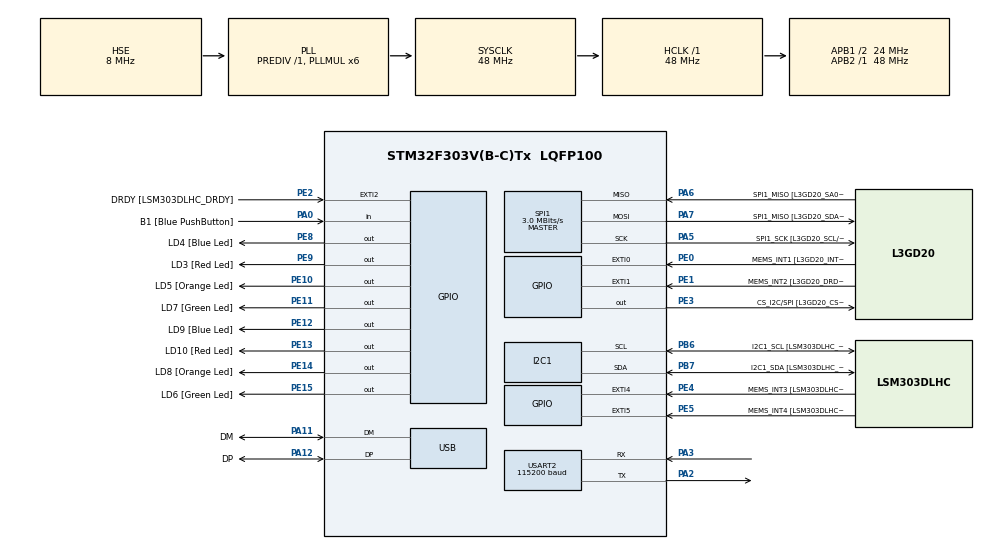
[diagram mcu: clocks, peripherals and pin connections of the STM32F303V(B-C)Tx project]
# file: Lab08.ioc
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I2C1.Timing=0x2000090E
I2C1.Timing-I2C=0x2000090E
Mcu.Family=STM32F3
Mcu.Name=STM32F303V(B-C)Tx
Mcu.Package=LQFP100
NVIC.PriorityGroup=NVIC_PRIORITYGROUP_0
NVIC.SPI1_IRQn=true\:0\:0\:false\:false\:true\:true\:true\:true
PA0.GPIO_Label=B1 [Blue PushButton]
PA0.Signal=GPIO_Input
PA11.GPIO_Label=DM
PA11.Mode=Device
PA11.Signal=USB_DM
PA12.GPIO_Label=DP
PA12.Mode=Device
PA12.Signal=USB_DP
PA13.GPIO_Label=SWDIO
PA13.Mode=Serial_Wire
PA13.Signal=SYS_JTMS-SWDIO
PA14.GPIO_Label=SWCLK
PA14.Mode=Serial_Wire
PA14.Signal=SYS_JTCK-SWCLK
PA2.Mode=Asynchronous
PA2.Signal=USART2_TX
PA3.Mode=Asynchronous
PA3.Signal=USART2_RX
PA5.GPIO_Label=SPI1_SCK [L3GD20_SCL/SPC]
PA5.Mode=Full_Duplex_Master
PA5.Signal=SPI1_SCK
PA6.GPIO_Label=SPI1_MISO [L3GD20_SA0/SDO]
PA6.Mode=Full_Duplex_Master
PA6.Signal=SPI1_MISO
PA7.GPIO_Label=SPI1_MISO [L3GD20_SDA/SDI/SDO]
PA7.Mode=Full_Duplex_Master
PA7.Signal=SPI1_MOSI
PB3.GPIO_Label=SWO
PB3.Signal=SYS_JTDO-TRACESWO
PB6.GPIO_Label=I2C1_SCL [LSM303DLHC_SCL]
PB6.GPIO_Pu=GPIO_PULLUP
PB6.Mode=I2C
PB6.Signal=I2C1_SCL
PB7.GPIO_Label=I2C1_SDA [LSM303DLHC_SDA]
PB7.GPIO_Pu=GPIO_PULLUP
PB7.Mode=I2C
PB7.Signal=I2C1_SDA
PC14-OSC32_IN.GPIO_Label=OSC32_IN
PC14-OSC32_IN.Signal=RCC_OSC32_IN
PC15-OSC32_OUT.GPIO_Label=OSC32_OUT
PC15-OSC32_OUT.Signal=RCC_OSC32_OUT
PE0.GPIO_Label=MEMS_INT1 [L3GD20_INT1]
PE0.GPIO_ModeDefaultEXTI=GPIO_MODE_EVT_RISING
PE0.Signal=GPXTI0
PE1.GPIO_Label=MEMS_INT2 [L3GD20_DRDY/INT2]
PE1.GPIO_ModeDefaultEXTI=GPIO_MODE_EVT_RISING
PE1.Signal=GPXTI1
PE10.GPIO_Label=LD5 [Orange Led]
PE10.Signal=GPIO_Output
PE11.GPIO_Label=LD7 [Green Led]
PE11.Signal=GPIO_Output
PE12.GPIO_Label=LD9 [Blue Led]
PE12.Signal=GPIO_Output
PE13.GPIO_Label=LD10 [Red Led]
PE13.Signal=GPIO_Output
PE14.GPIO_Label=LD8 [Orange Led]
PE14.Signal=GPIO_Output
PE15.GPIO_Label=LD6 [Green Led]
PE15.Signal=GPIO_Output
PE2.GPIO_Label=DRDY [LSM303DLHC_DRDY]
PE2.GPIO_ModeDefaultEXTI=GPIO_MODE_EVT_RISING
PE2.Signal=GPXTI2
PE3.GPIO_Label=CS_I2C/SPI [L3GD20_CS_I2C/SPI]
PE3.PinState=GPIO_PIN_SET
PE3.Signal=GPIO_Output
PE4.GPIO_Label=MEMS_INT3 [LSM303DLHC_INT1]
PE4.GPIO_ModeDefaultEXTI=GPIO_MODE_EVT_RISING
PE4.Signal=GPXTI4
PE5.GPIO_Label=MEMS_INT4 [LSM303DLHC_INT2]
PE5.GPIO_ModeDefaultEXTI=GPIO_MODE_EVT_RISING
PE5.Signal=GPXTI5
PE8.GPIO_Label=LD4 [Blue Led]
PE8.Signal=GPIO_Output
PE9.GPIO_Label=LD3 [Red Led]
PE9.Signal=GPIO_Output
PF0-OSC_IN.GPIO_Label=OSC_IN
PF0-OSC_IN.Mode=HSE-External-Clock-Source
PF0-OSC_IN.Signal=RCC_OSC_IN
PF1-OSC_OUT.GPIO_Label=OSC_OUT
PF1-OSC_OUT.Signal=RCC_OSC_OUT
ProjectManager.HeapSize=0x200
ProjectManager.StackSize=0x400
ProjectManager.TargetToolchain=CMake
RCC.AHBFreq_Value=48000000
RCC.APB1CLKDivider=RCC_HCLK_DIV2
RCC.APB1Freq_Value=24000000
RCC.APB1TimFreq_Value=48000000
RCC.APB2Freq_Value=48000000
RCC.APB2TimFreq_Value=48000000
RCC.CortexFreq_Value=48000000
RCC.HCLKFreq_Value=48000000
RCC.HSE_VALUE=8000000
RCC.HSI_VALUE=8000000
RCC.LSE_VALUE=32768
RCC.PLLMUL=RCC_PLL_MUL6
RCC.SYSCLKFreq_VALUE=48000000
RCC.SYSCLKSourceVirtual=RCC_SYSCLKSOURCE_PLLCLK
RCC.USBFreq_Value=48000000
SPI1.BaudRatePrescaler=SPI_BAUDRATEPRESCALER_16
SPI1.BaudRatePrescaler-Full_Duplex_Master=SPI_BAUDRATEPRESCALER_2
SPI1.CLKPhase=SPI_PHASE_2EDGE
SPI1.CLKPolarity=SPI_POLARITY_HIGH
SPI1.CalculateBaudRate=3.0 MBits/s
SPI1.CalculateBaudRate-Full_Duplex_Master=24.0 MBits/s
SPI1.DataSize=SPI_DATASIZE_8BIT
SPI1.Direction=SPI_DIRECTION_2LINES
SPI1.Mode=SPI_MODE_MASTER
SPI1.Mode-Full_Duplex_Master=SPI_MODE_MASTER
SPI1.VirtualType=VM_MASTER
USART2.BaudRate=115200
USART2.VirtualMode-Asynchronous=VM_ASYNC
board=STM32F3DISCOVERY

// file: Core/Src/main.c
/* USER CODE BEGIN Header */
/**
  ******************************************************************************
  * @file           : main.c
  * @brief          : Main program body
  ******************************************************************************
  * @attention
  *
  * Copyright (c) 2026 STMicroelectronics.
  * All rights reserved.
  *
  * This software is licensed under terms that can be found in the LICENSE file
  * in the root directory of this software component.
  * If no LICENSE file comes with this software, it is provided AS-IS.
  *
  ******************************************************************************
  */
/* USER CODE END Header */
#include "main.h"

/* USER CODE BEGIN Includes */
//task01 begin
#include <stdio.h>
//task01 end
/* USER CODE END Includes */

/* USER CODE BEGIN PD */
//task02 begin
#define DEBUG_TEXT 1   // 1 = readable text in terminal, 0 = raw byte for Python
//task02 end
//task03 begin
#define CTRL_REG1       0x20
#define CTRL_REG1_VAL   0x8F      // 0b10001111: power on, X/Y/Z enabled
#define OUT_TEMP_REG    0x26
#define OUT_X_L_REG     0x28
#define SENS_245DPS     0.00875f  // 8.75 mdps/LSB at +/-245 dps
//task03 end
/* USER CODE END PD */

I2C_HandleTypeDef hi2c1;

SPI_HandleTypeDef hspi1;

UART_HandleTypeDef huart2;

PCD_HandleTypeDef hpcd_USB_FS;

/* USER CODE BEGIN PV */
//task02 begin
uint8_t temp_cmd = 0x80 | 0x26;      // OUT_TEMP = 0x26, read -> 0xA6
volatile uint8_t rx_temp = 0;
volatile uint8_t temp_ready = 0;
//task02 end
/* USER CODE END PV */

void SystemClock_Config(void);
static void MX_GPIO_Init(void);
static void MX_I2C1_Init(void);
static void MX_SPI1_Init(void);
static void MX_USART2_UART_Init(void);
static void MX_USB_PCD_Init(void);

/* USER CODE BEGIN 0 */
#if 0

//task02 begin
void gyro_init(void)
{
    uint8_t tx[2] = { 0x20, 0x0F };  // CTRL_REG1: PD=1, X/Y/Z enabled
    HAL_GPIO_WritePin(GPIOE, GPIO_PIN_3, GPIO_PIN_RESET);
    HAL_SPI_Transmit(&hspi1, tx, 2, HAL_MAX_DELAY);
    HAL_GPIO_WritePin(GPIOE, GPIO_PIN_3, GPIO_PIN_SET);
}

void HAL_SPI_TxCpltCallback(SPI_HandleTypeDef *hspi)
{
    if (hspi->Instance == SPI1) {
        __HAL_SPI_CLEAR_OVRFLAG(hspi);                       // drop byte clocked in during command
        HAL_SPI_Receive_IT(hspi, (uint8_t *)&rx_temp, 1);    // now read the reply
    }
}

void HAL_SPI_RxCpltCallback(SPI_HandleTypeDef *hspi)
{
    if (hspi->Instance == SPI1) {
        HAL_GPIO_WritePin(GPIOE, GPIO_PIN_3, GPIO_PIN_SET);  // CS high
        temp_ready = 1;
        HAL_GPIO_TogglePin(GPIOE, LD3_Pin);   // LED blinks = SPI interrupt works
    }
}
//task02 end
#endif
//task03 begin
void gyro_init(void)
{
    uint8_t tx[2] = { CTRL_REG1, CTRL_REG1_VAL };
    HAL_GPIO_WritePin(GPIOE, GPIO_PIN_3, GPIO_PIN_RESET);   // CS low
    HAL_SPI_Transmit(&hspi1, tx, 2, HAL_MAX_DELAY);
    HAL_GPIO_WritePin(GPIOE, GPIO_PIN_3, GPIO_PIN_SET);     // CS high
}

void gyro_read(uint8_t reg, uint8_t *buf, uint16_t len)
{
    uint8_t cmd = 0x80 | reg;            // bit 7 = read
    if (len > 1) cmd |= 0x40;            // bit 6 = auto-increment for multi-byte
    HAL_GPIO_WritePin(GPIOE, GPIO_PIN_3, GPIO_PIN_RESET);
    HAL_SPI_Transmit(&hspi1, &cmd, 1, HAL_MAX_DELAY);
    HAL_SPI_Receive(&hspi1, buf, len, HAL_MAX_DELAY);
    HAL_GPIO_WritePin(GPIOE, GPIO_PIN_3, GPIO_PIN_SET);
}
//task03 end

/* USER CODE END 0 */

int main(void)
{

  /* MCU Configuration--------------------------------------------------------*/

  /* Reset of all peripherals, Initializes the Flash interface and the Systick. */
  HAL_Init();

  /* Configure the system clock */
  SystemClock_Config();

  /* Initialize all configured peripherals */
  MX_GPIO_Init();
  MX_I2C1_Init();
  MX_SPI1_Init();
  MX_USART2_UART_Init();
  MX_USB_PCD_Init();
  /* USER CODE BEGIN 2 */
  //task02 begin
#if 0
  HAL_NVIC_SetPriority(SPI1_IRQn, 1, 0);
  HAL_NVIC_EnableIRQ(SPI1_IRQn);
  gyro_init();
  HAL_Delay(100);
  HAL_Delay(10);
  {
      uint8_t c = 0x80 | 0x0F, id = 0;
      HAL_GPIO_WritePin(GPIOE, GPIO_PIN_3, GPIO_PIN_RESET);
      HAL_SPI_Transmit(&hspi1, &c, 1, HAL_MAX_DELAY);
      HAL_SPI_Receive(&hspi1, &id, 1, HAL_MAX_DELAY);
      HAL_GPIO_WritePin(GPIOE, GPIO_PIN_3, GPIO_PIN_SET);
      char b[60];
      int n = snprintf(b, sizeof b, "\r\n--- Task 2 start, WHO_AM_I = 0x%02X ---\r\n", id);
      HAL_UART_Transmit(&huart2, (uint8_t *)b, n, HAL_MAX_DELAY);
  }
  //task02 end
#endif
  //task03 begin
  gyro_init();          // once, before the loop
  HAL_Delay(100);
//task03 end
  /* USER CODE END 2 */

  /* Infinite loop */
  while (1)
  {

    /* USER CODE BEGIN 3 */
    #if 0
    //task02 begin

    HAL_GPIO_WritePin(GPIOE, GPIO_PIN_3, GPIO_PIN_RESET);   // CS low
    HAL_SPI_Transmit_IT(&hspi1, &temp_cmd, 1);              // starts the chain

    uint32_t t0 = HAL_GetTick();
    while (!temp_ready && (HAL_GetTick() - t0 < 50)) { }   // wait (max 50 ms)

    if (temp_ready) {
        temp_ready = 0;
        int8_t temperature = (int8_t)rx_temp;               // signed 8-bit
        #if DEBUG_TEXT
        char dbg[32];
        int n = snprintf(dbg, sizeof dbg, "%d\n", temperature);
        HAL_UART_Transmit(&huart2, (uint8_t *)dbg, n, HAL_MAX_DELAY);
        #else
                HAL_UART_Transmit(&huart2, (uint8_t *)&temperature, 1, HAL_MAX_DELAY);
        #endif
            } else {
                HAL_SPI_Abort(&hspi1);
                HAL_GPIO_WritePin(GPIOE, GPIO_PIN_3, GPIO_PIN_SET);
        #if DEBUG_TEXT
                HAL_UART_Transmit(&huart2, (uint8_t *)"SPI IT timeout\r\n", 16, HAL_MAX_DELAY);
        #endif
            }
            HAL_Delay(150);                                         // 100–200 ms required
                //temporairly commented below from here
    //     HAL_UART_Transmit(&huart2, (uint8_t *)&temperature, 1, HAL_MAX_DELAY);
    // } else {
    //     HAL_SPI_Abort(&hspi1);
    //     HAL_GPIO_WritePin(GPIOE, GPIO_PIN_3, GPIO_PIN_SET);
    // }
    // HAL_Delay(150);                                 // 100–200 ms required
    // ...te here
    //task01 begin
    // uint8_t cmd = 0x80 | 0x0F;   // read bit + WHO_AM_I address = 0x8F
    // uint8_t id  = 0;

    // HAL_GPIO_WritePin(GPIOE, GPIO_PIN_3, GPIO_PIN_RESET);   // CS low
    // HAL_SPI_Transmit(&hspi1, &cmd, 1, HAL_MAX_DELAY);       // send command
    // HAL_SPI_Receive(&hspi1, &id, 1, HAL_MAX_DELAY);         // read answer
    // HAL_GPIO_WritePin(GPIOE, GPIO_PIN_3, GPIO_PIN_SET);     // CS high

    // char msg[40];
    // int n = snprintf(msg, sizeof msg, "WHO_AM_I = 0x%02X\r\n", id);
    // HAL_UART_Transmit(&huart2, (uint8_t *)msg, n, HAL_MAX_DELAY);
    // HAL_Delay(500);
    //task01 end
    #endif
    //task03 begin
    uint8_t raw[6];
    int8_t  temp;

    gyro_read(OUT_TEMP_REG, (uint8_t *)&temp, 1);   // temperature (signed 8-bit)
    gyro_read(OUT_X_L_REG, raw, 6);                 // X_L,X_H,Y_L,Y_H,Z_L,Z_H

    int16_t x_raw = (int16_t)((raw[1] << 8) | raw[0]);   // low byte first
    int16_t y_raw = (int16_t)((raw[3] << 8) | raw[2]);
    int16_t z_raw = (int16_t)((raw[5] << 8) | raw[4]);

    float x_dps = x_raw * SENS_245DPS;
    float y_dps = y_raw * SENS_245DPS;
    float z_dps = z_raw * SENS_245DPS;

    char buf[80];
    int len = snprintf(buf, sizeof buf, "%d, %.2f, %.2f, %.2f\n", temp, x_dps, y_dps, z_dps);
    HAL_UART_Transmit(&huart2, (uint8_t *)buf, len, HAL_MAX_DELAY);
    HAL_Delay(100);
    //task03 end
  }
  /* USER CODE END 3 */
}

void SystemClock_Config(void)
{
  RCC_OscInitTypeDef RCC_OscInitStruct = {0};
  RCC_ClkInitTypeDef RCC_ClkInitStruct = {0};
  RCC_PeriphCLKInitTypeDef PeriphClkInit = {0};

  /** Initializes the RCC Oscillators according to the specified parameters
  * in the RCC_OscInitTypeDef structure.
  */
  RCC_OscInitStruct.OscillatorType = RCC_OSCILLATORTYPE_HSI|RCC_OSCILLATORTYPE_HSE;
  RCC_OscInitStruct.HSEState = RCC_HSE_BYPASS;
  RCC_OscInitStruct.HSEPredivValue = RCC_HSE_PREDIV_DIV1;
  RCC_OscInitStruct.HSIState = RCC_HSI_ON;
  RCC_OscInitStruct.HSICalibrationValue = RCC_HSICALIBRATION_DEFAULT;
  RCC_OscInitStruct.PLL.PLLState = RCC_PLL_ON;
  RCC_OscInitStruct.PLL.PLLSource = RCC_PLLSOURCE_HSE;
  RCC_OscInitStruct.PLL.PLLMUL = RCC_PLL_MUL6;
  if (HAL_RCC_OscConfig(&RCC_OscInitStruct) != HAL_OK)
  {
    Error_Handler();
  }

  /** Initializes the CPU, AHB and APB buses clocks
  */
  RCC_ClkInitStruct.ClockType = RCC_CLOCKTYPE_HCLK|RCC_CLOCKTYPE_SYSCLK
                              |RCC_CLOCKTYPE_PCLK1|RCC_CLOCKTYPE_PCLK2;
  RCC_ClkInitStruct.SYSCLKSource = RCC_SYSCLKSOURCE_PLLCLK;
  RCC_ClkInitStruct.AHBCLKDivider = RCC_SYSCLK_DIV1;
  RCC_ClkInitStruct.APB1CLKDivider = RCC_HCLK_DIV2;
  RCC_ClkInitStruct.APB2CLKDivider = RCC_HCLK_DIV1;

  if (HAL_RCC_ClockConfig(&RCC_ClkInitStruct, FLASH_LATENCY_1) != HAL_OK)
  {
    Error_Handler();
  }
  PeriphClkInit.PeriphClockSelection = RCC_PERIPHCLK_USB|RCC_PERIPHCLK_USART2
                              |RCC_PERIPHCLK_I2C1;
  PeriphClkInit.Usart2ClockSelection = RCC_USART2CLKSOURCE_PCLK1;
  PeriphClkInit.I2c1ClockSelection = RCC_I2C1CLKSOURCE_HSI;
  PeriphClkInit.USBClockSelection = RCC_USBCLKSOURCE_PLL;
  if (HAL_RCCEx_PeriphCLKConfig(&PeriphClkInit) != HAL_OK)
  {
    Error_Handler();
  }
}

static void MX_I2C1_Init(void)
{

  hi2c1.Instance = I2C1;
  hi2c1.Init.Timing = 0x2000090E;
  hi2c1.Init.OwnAddress1 = 0;
  hi2c1.Init.AddressingMode = I2C_ADDRESSINGMODE_7BIT;
  hi2c1.Init.DualAddressMode = I2C_DUALADDRESS_DISABLE;
  hi2c1.Init.OwnAddress2 = 0;
  hi2c1.Init.OwnAddress2Masks = I2C_OA2_NOMASK;
  hi2c1.Init.GeneralCallMode = I2C_GENERALCALL_DISABLE;
  hi2c1.Init.NoStretchMode = I2C_NOSTRETCH_DISABLE;
  if (HAL_I2C_Init(&hi2c1) != HAL_OK)
  {
    Error_Handler();
  }

  /** Configure Analogue filter
  */
  if (HAL_I2CEx_ConfigAnalogFilter(&hi2c1, I2C_ANALOGFILTER_ENABLE) != HAL_OK)
  {
    Error_Handler();
  }

  /** Configure Digital filter
  */
  if (HAL_I2CEx_ConfigDigitalFilter(&hi2c1, 0) != HAL_OK)
  {
    Error_Handler();
  }

}

static void MX_SPI1_Init(void)
{

  /* SPI1 parameter configuration*/
  hspi1.Instance = SPI1;
  hspi1.Init.Mode = SPI_MODE_MASTER;
  hspi1.Init.Direction = SPI_DIRECTION_2LINES;
  hspi1.Init.DataSize = SPI_DATASIZE_8BIT;
  hspi1.Init.CLKPolarity = SPI_POLARITY_HIGH;
  hspi1.Init.CLKPhase = SPI_PHASE_2EDGE;
  hspi1.Init.NSS = SPI_NSS_SOFT;
  hspi1.Init.BaudRatePrescaler = SPI_BAUDRATEPRESCALER_16;
  hspi1.Init.FirstBit = SPI_FIRSTBIT_MSB;
  hspi1.Init.TIMode = SPI_TIMODE_DISABLE;
  hspi1.Init.CRCCalculation = SPI_CRCCALCULATION_DISABLE;
  hspi1.Init.CRCPolynomial = 7;
  hspi1.Init.CRCLength = SPI_CRC_LENGTH_DATASIZE;
  hspi1.Init.NSSPMode = SPI_NSS_PULSE_DISABLE;
  if (HAL_SPI_Init(&hspi1) != HAL_OK)
  {
    Error_Handler();
  }

}

static void MX_USART2_UART_Init(void)
{

  huart2.Instance = USART2;
  huart2.Init.BaudRate = 115200;
  huart2.Init.WordLength = UART_WORDLENGTH_8B;
  huart2.Init.StopBits = UART_STOPBITS_1;
  huart2.Init.Parity = UART_PARITY_NONE;
  huart2.Init.Mode = UART_MODE_TX_RX;
  huart2.Init.HwFlowCtl = UART_HWCONTROL_NONE;
  huart2.Init.OverSampling = UART_OVERSAMPLING_16;
  huart2.Init.OneBitSampling = UART_ONE_BIT_SAMPLE_DISABLE;
  huart2.AdvancedInit.AdvFeatureInit = UART_ADVFEATURE_NO_INIT;
  if (HAL_UART_Init(&huart2) != HAL_OK)
  {
    Error_Handler();
  }

}

static void MX_USB_PCD_Init(void)
{

  hpcd_USB_FS.Instance = USB;
  hpcd_USB_FS.Init.dev_endpoints = 8;
  hpcd_USB_FS.Init.speed = PCD_SPEED_FULL;
  hpcd_USB_FS.Init.phy_itface = PCD_PHY_EMBEDDED;
  hpcd_USB_FS.Init.low_power_enable = DISABLE;
  hpcd_USB_FS.Init.battery_charging_enable = DISABLE;
  if (HAL_PCD_Init(&hpcd_USB_FS) != HAL_OK)
  {
    Error_Handler();
  }

}

static void MX_GPIO_Init(void)
{
  GPIO_InitTypeDef GPIO_InitStruct = {0};

  /* GPIO Ports Clock Enable */
  __HAL_RCC_GPIOE_CLK_ENABLE();
  __HAL_RCC_GPIOC_CLK_ENABLE();
  __HAL_RCC_GPIOF_CLK_ENABLE();
  __HAL_RCC_GPIOA_CLK_ENABLE();
  __HAL_RCC_GPIOB_CLK_ENABLE();

  /*Configure GPIO pin Output Level */
  HAL_GPIO_WritePin(CS_I2C_SPI_GPIO_Port, CS_I2C_SPI_Pin, GPIO_PIN_SET);

  /*Configure GPIO pin Output Level */
  HAL_GPIO_WritePin(GPIOE, LD4_Pin|LD3_Pin|LD5_Pin|LD7_Pin
                          |LD9_Pin|LD10_Pin|LD8_Pin|LD6_Pin, GPIO_PIN_RESET);

  /*Configure GPIO pins : DRDY_Pin MEMS_INT3_Pin MEMS_INT4_Pin MEMS_INT1_Pin
                           MEMS_INT2_Pin */
  GPIO_InitStruct.Pin = DRDY_Pin|MEMS_INT3_Pin|MEMS_INT4_Pin|MEMS_INT1_Pin
                          |MEMS_INT2_Pin;
  GPIO_InitStruct.Mode = GPIO_MODE_EVT_RISING;
  GPIO_InitStruct.Pull = GPIO_NOPULL;
  HAL_GPIO_Init(GPIOE, &GPIO_InitStruct);

  /*Configure GPIO pins : CS_I2C_SPI_Pin LD4_Pin LD3_Pin LD5_Pin
                           LD7_Pin LD9_Pin LD10_Pin LD8_Pin
                           LD6_Pin */
  GPIO_InitStruct.Pin = CS_I2C_SPI_Pin|LD4_Pin|LD3_Pin|LD5_Pin
                          |LD7_Pin|LD9_Pin|LD10_Pin|LD8_Pin
                          |LD6_Pin;
  GPIO_InitStruct.Mode = GPIO_MODE_OUTPUT_PP;
  GPIO_InitStruct.Pull = GPIO_NOPULL;
  GPIO_InitStruct.Speed = GPIO_SPEED_FREQ_LOW;
  HAL_GPIO_Init(GPIOE, &GPIO_InitStruct);

  /*Configure GPIO pin : B1_Pin */
  GPIO_InitStruct.Pin = B1_Pin;
  GPIO_InitStruct.Mode = GPIO_MODE_INPUT;
  GPIO_InitStruct.Pull = GPIO_NOPULL;
  HAL_GPIO_Init(B1_GPIO_Port, &GPIO_InitStruct);

}

void Error_Handler(void)
{
  __disable_irq();
  while (1)
  {
  }
}
